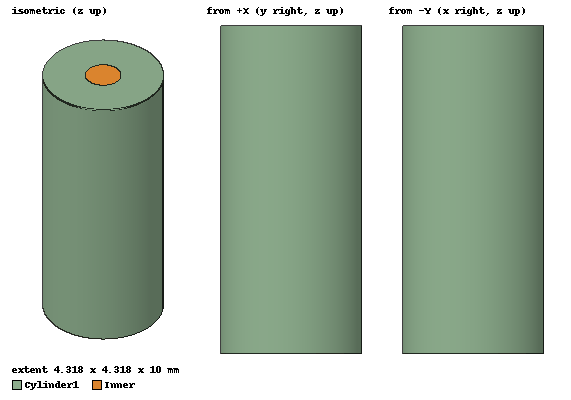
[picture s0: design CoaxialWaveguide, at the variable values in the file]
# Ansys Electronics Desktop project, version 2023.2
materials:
  vacuum: permittivity=1
  copper: permeability=0.999991 conductivity=58000000
  Teflon (tm): permittivity=2.1 dielectric_loss_tangent=0.001

design RectangularWaveguide (HFSS, HFSS Terminal Network, model units mm)
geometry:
  Box1 [vacuum] = box(corner=(0mm, 0mm, 0mm), size=(100mm, 22.86mm, 10mm))
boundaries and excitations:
  1: Wave Port Faces=Box1.face(+x) WavePortType=Modal NumModes=5 Modes{Mode1{CharImp=Zpi} Mode2{CharImp=Zpi} Mode3{CharImp=Zpi} Mode4{CharImp=Zpi} Mode5{CharImp=Zpi}}
  2: Wave Port Faces=Box1.face(-x) WavePortType=Modal NumModes=5 Modes{Mode1{CharImp=Zpi} Mode2{CharImp=Zpi} Mode3{CharImp=Zpi} Mode4{CharImp=Zpi} Mode5{CharImp=Zpi}}
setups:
  Setup1: HfssDriven Frequency=15GHz MaxDeltaS=0.005 MaximumPasses=6 MinimumPasses=5 MinimumConvergedPasses=1 PercentRefinement=30 BasisOrder=1 PortAccuracy=2 DrivenSolverType="Direct Solver"
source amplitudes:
  1:1: 1V 0deg
  1:2..1:5, 2:1..2:5: 0V 0deg
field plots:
  Vector_E1: E Field in Box1 on Setup1 : LastAdaptive at Freq=15GHz Phase=0deg

design CoaxialWaveguide (HFSS, HFSS Terminal Network, model units mm)
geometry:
  Inner [copper] = cylinder(axis=Z, base_centre=(0mm, 0mm, 0mm), radius=25mil, height=10mm)
  Cylinder1 [Teflon (tm)] = cylinder(axis=Z, base_centre=(0mm, 0mm, 0mm), radius=85mil, height=10mm)
  Inner1 = cylinder(axis=Z, base_centre=(0mm, 0mm, 0mm), radius=25mil, height=10mm)
  Cylinder1.subtract(Inner1)
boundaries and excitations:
  1: Wave Port Faces=Cylinder1.face(+z end) WavePortType=Modal NumModes=6 Modes{Mode1{CharImp=Zpi} Mode2{CharImp=Zpi} Mode3{CharImp=Zpi} Mode4{CharImp=Zpi} Mode5{CharImp=Zpi} Mode6{CharImp=Zpi}}
  2: Wave Port Faces=Cylinder1.face(-z end) WavePortType=Modal NumModes=6 Modes{Mode1{CharImp=Zpi} Mode2{CharImp=Zpi} Mode3{CharImp=Zpi} Mode4{CharImp=Zpi} Mode5{CharImp=Zpi} Mode6{CharImp=Zpi}}
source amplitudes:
  1:1: 1V 0deg
  1:2..1:6, 2:1..2:6: 0V 0deg
